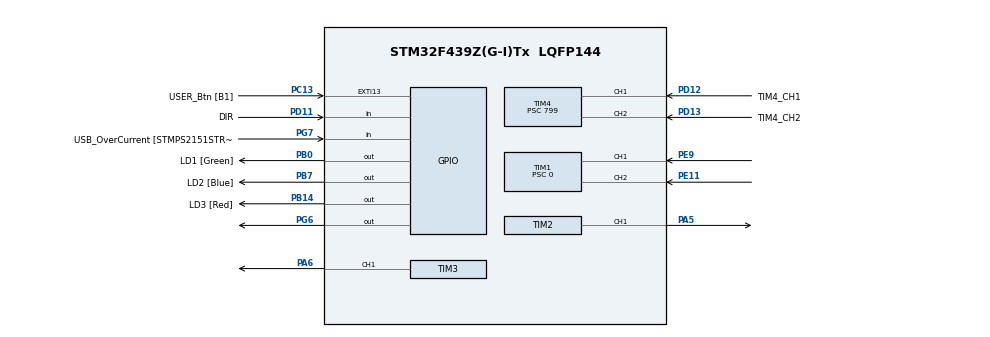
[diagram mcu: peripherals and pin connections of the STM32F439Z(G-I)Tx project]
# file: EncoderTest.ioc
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Mcu.Family=STM32F4
Mcu.Name=STM32F439Z(G-I)Tx
Mcu.Package=LQFP144
NVIC.PriorityGroup=NVIC_PRIORITYGROUP_4
NVIC.TIM1_UP_TIM10_IRQn=true\:0\:0\:false\:false\:true\:true\:true\:true
NVIC.TIM4_IRQn=true\:0\:0\:false\:false\:true\:true\:true\:true
NVIC.TIM6_DAC_IRQn=true\:0\:0\:false\:false\:true\:true\:true\:true
PA1.GPIO_Label=RMII_REF_CLK [LAN8742A-CZ-TR_REFCLK0]
PA1.Signal=ETH_REF_CLK
PA10.GPIO_Label=USB_ID
PA10.Signal=USB_OTG_FS_ID
PA11.GPIO_Label=USB_DM
PA11.Signal=USB_OTG_FS_DM
PA12.GPIO_Label=USB_DP
PA12.Signal=USB_OTG_FS_DP
PA13.GPIO_Label=TMS
PA13.Mode=Serial_Wire
PA13.Signal=SYS_JTMS-SWDIO
PA14.GPIO_Label=TCK
PA14.Mode=Serial_Wire
PA14.Signal=SYS_JTCK-SWCLK
PA2.GPIO_Label=RMII_MDIO [LAN8742A-CZ-TR_MDIO]
PA2.Signal=ETH_MDIO
PA5.Signal=S_TIM2_CH1_ETR
PA6.Signal=S_TIM3_CH1
PA7.GPIO_Label=RMII_CRS_DV [LAN8742A-CZ-TR_CRS_DV]
PA7.Signal=ETH_CRS_DV
PA8.GPIO_Label=USB_SOF [TP1]
PA8.Signal=USB_OTG_FS_SOF
PA9.GPIO_Label=USB_VBUS
PA9.Signal=USB_OTG_FS_VBUS
PB0.GPIO_Label=LD1 [Green]
PB0.Signal=GPIO_Output
PB13.GPIO_Label=RMII_TXD1 [LAN8742A-CZ-TR_TXD1]
PB13.Signal=ETH_TXD1
PB14.GPIO_Label=LD3 [Red]
PB14.Signal=GPIO_Output
PB7.GPIO_Label=LD2 [Blue]
PB7.Signal=GPIO_Output
PC1.GPIO_Label=RMII_MDC [LAN8742A-CZ-TR_MDC]
PC1.Signal=ETH_MDC
PC13.GPIO_Label=USER_Btn [B1]
PC13.Signal=GPXTI13
PC14/OSC32_IN.Mode=LSE-External-Oscillator
PC14/OSC32_IN.Signal=RCC_OSC32_IN
PC15/OSC32_OUT.Mode=LSE-External-Oscillator
PC15/OSC32_OUT.Signal=RCC_OSC32_OUT
PC4.GPIO_Label=RMII_RXD0 [LAN8742A-CZ-TR_RXD0]
PC4.Signal=ETH_RXD0
PC5.GPIO_Label=RMII_RXD1 [LAN8742A-CZ-TR_RXD1]
PC5.Signal=ETH_RXD1
PD11.GPIO_Label=DIR
PD11.Signal=GPIO_Input
PD12.GPIO_Label=TIM4_CH1
PD12.Signal=S_TIM4_CH1
PD13.GPIO_Label=TIM4_CH2
PD13.Signal=S_TIM4_CH2
PD8.GPIO_Label=STLK_RX [STM32F103CBT6_PA3]
PD8.Signal=USART3_TX
PD9.GPIO_Label=STLK_TX [STM32F103CBT6_PA2]
PD9.Signal=USART3_RX
PE11.GPIO_PuPd=GPIO_PULLUP
PE11.Signal=S_TIM1_CH2
PE9.GPIO_PuPd=GPIO_PULLUP
PE9.Signal=S_TIM1_CH1
PG11.GPIO_Label=RMII_TX_EN [LAN8742A-CZ-TR_TXEN]
PG11.Signal=ETH_TX_EN
PG13.GPIO_Label=RMII_TXD0 [LAN8742A-CZ-TR_TXD0]
PG13.Signal=ETH_TXD0
PG6.Signal=GPIO_Output
PG7.GPIO_Label=USB_OverCurrent [STMPS2151STR_FAULT]
PG7.Signal=GPIO_Input
PH0/OSC_IN.GPIO_Label=MCO [STM32F103CBT6_PA8]
PH0/OSC_IN.Mode=HSE-External-Clock-Source
PH0/OSC_IN.Signal=RCC_OSC_IN
PH1/OSC_OUT.Mode=HSE-External-Clock-Source
PH1/OSC_OUT.Signal=RCC_OSC_OUT
ProjectManager.HeapSize=0x200
ProjectManager.StackSize=0x400
ProjectManager.TargetToolchain=STM32CubeIDE
RCC.48MHZClocksFreq_Value=22857142.85714286
RCC.AHBFreq_Value=80000000
RCC.APB1CLKDivider=RCC_HCLK_DIV2
RCC.APB1Freq_Value=40000000
RCC.APB1TimFreq_Value=80000000
RCC.APB2CLKDivider=RCC_HCLK_DIV2
RCC.APB2Freq_Value=40000000
RCC.APB2TimFreq_Value=80000000
RCC.CortexFreq_Value=80000000
RCC.HCLKFreq_Value=80000000
RCC.HSE_VALUE=8000000
RCC.HSI_VALUE=16000000
RCC.PLLM=4
RCC.PLLMUL=RCC_PLL_MUL9
RCC.PLLN=80
RCC.PLLQ=7
RCC.PLLSourceVirtual=RCC_PLLSOURCE_HSE
RCC.PRESCALERUSB=RCC_USBCLKSOURCE_PLL_DIV1_5
RCC.SYSCLKFreq_VALUE=80000000
RCC.SYSCLKSource=RCC_SYSCLKSOURCE_PLLCLK
RCC.SYSCLKSourceVirtual=RCC_SYSCLKSOURCE_PLLCLK
RCC.USBFreq_Value=48000000
RCC.VCOOutputFreq_Value=160000000
SH.S_TIM1_CH1.0=TIM1_CH1,Encoder_Interface
SH.S_TIM1_CH2.0=TIM1_CH2,Encoder_Interface
SH.S_TIM2_CH1_ETR.0=TIM2_CH1,PWM Generation1 CH1
SH.S_TIM3_CH1.0=TIM3_CH1,PWM Generation1 CH1
SH.S_TIM4_CH1.0=TIM4_CH1,Input_Capture1_from_TI1
SH.S_TIM4_CH2.0=TIM4_CH2,Input_Capture2_from_TI2
TIM1.EncoderMode=TIM_ENCODERMODE_TI12
TIM1.IC1Filter=8
TIM1.IC2Filter=8
TIM1.Prescaler=0
TIM2.Channel-Output\ Compare2\ No\ Output=TIM_CHANNEL_2
TIM2.Channel-PWM\ Generation1\ CH1=TIM_CHANNEL_1
TIM2.OCMode_2=TIM_OCMODE_ACTIVE
TIM2.Period=9999
TIM2.Prescaler=16
TIM2.Pulse-Output\ Compare2\ No\ Output=2499
TIM2.Pulse-PWM\ Generation1\ CH1=4999
TIM2.TIM_MasterOutputTrigger=TIM_TRGO_OC2REF
TIM3.Channel-PWM\ Generation1\ CH1=TIM_CHANNEL_1
TIM3.Period=9999
TIM3.Prescaler=16
TIM3.Pulse-PWM\ Generation1\ CH1=4999
TIM4.Channel-Input_Capture1_from_TI1=TIM_CHANNEL_1
TIM4.Channel-Input_Capture2_from_TI2=TIM_CHANNEL_2
TIM4.ICFilter_CH1=8
TIM4.ICFilter_CH2=8
TIM4.ICPolarity_CH1=TIM_INPUTCHANNELPOLARITY_BOTHEDGE
TIM4.ICPolarity_CH2=TIM_INPUTCHANNELPOLARITY_BOTHEDGE
TIM4.Prescaler=799
TIM6.Period=9999
TIM6.Prescaler=799
VP_TIM2_VS_ClockSourceINT.Mode=Internal
VP_TIM2_VS_no_output2.Mode=Output Compare2 No Output
VP_TIM3_VS_ClockSourceINT.Mode=Internal
VP_TIM3_VS_ClockSourceITR.Mode=TriggerSource_ITR1
VP_TIM3_VS_ControllerModeTrigger.Mode=Trigger Mode
VP_TIM4_VS_ClockSourceINT.Mode=Internal
VP_TIM6_VS_ClockSourceINT.Mode=Enable_Timer
VP_TIM7_VS_ClockSourceINT.Mode=Enable_Timer
board=NUCLEO-F439ZI

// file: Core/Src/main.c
/* USER CODE BEGIN Header */
/**
  ******************************************************************************
  * @file           : main.c
  * @brief          : Main program body
  ******************************************************************************
  * @attention
  *
  * Copyright (c) 2026 STMicroelectronics.
  * All rights reserved.
  *
  * This software is licensed under terms that can be found in the LICENSE file
  * in the root directory of this software component.
  * If no LICENSE file comes with this software, it is provided AS-IS.
  *
  ******************************************************************************
  */
/* USER CODE END Header */
#include "main.h"
#include "tim.h"
#include "gpio.h"

/* USER CODE BEGIN Includes */
#include "PulseCountVelocity_static.h"
#include "TimeIntervalVelocity_static.h"
#include "HybridVelocity.h"
#include "Algorithm_profiler.h"
/* USER CODE END Includes */

void SystemClock_Config(void);

/* USER CODE BEGIN 0 */
volatile int32_t PCV_result = 0;
volatile int32_t TIV_result = 0;
volatile int32_t HV_result = 0;

volatile uint32_t encoder_counter;
volatile uint16_t timer_counter = 0;

volatile uint32_t Nanoseconds = 0;
/* USER CODE END 0 */

int main(void)
{

  /* MCU Configuration--------------------------------------------------------*/

  /* Reset of all peripherals, Initializes the Flash interface and the Systick. */
  HAL_Init();

  /* Configure the system clock */
  SystemClock_Config();

  /* Initialize all configured peripherals */
  MX_GPIO_Init();
  MX_TIM1_Init();
  MX_TIM2_Init();
  MX_TIM3_Init();
  MX_TIM6_Init();
  MX_TIM4_Init();
  MX_TIM7_Init();
  /* USER CODE BEGIN 2 */

  LL_TIM_GenerateEvent_UPDATE(TIM2);
  LL_TIM_GenerateEvent_UPDATE(TIM3);

  LL_TIM_ClearFlag_UPDATE(TIM2);
  LL_TIM_ClearFlag_UPDATE(TIM3);

  LL_TIM_CC_EnableChannel(TIM2, LL_TIM_CHANNEL_CH1);
  LL_TIM_CC_EnableChannel(TIM2, LL_TIM_CHANNEL_CH2);

  LL_TIM_CC_EnableChannel(TIM3, LL_TIM_CHANNEL_CH1);

  LL_TIM_EnableCounter(TIM2);

  Profiler_Calibration();
  //PCVs_Start();
  //TIVs_Start();
  HV_Start();

  /* USER CODE END 2 */

  /* Infinite loop */
  while (1)
  {

  }
}

void SystemClock_Config(void)
{
  LL_FLASH_SetLatency(LL_FLASH_LATENCY_2);
  while(LL_FLASH_GetLatency()!= LL_FLASH_LATENCY_2)
  {
  }
  LL_PWR_SetRegulVoltageScaling(LL_PWR_REGU_VOLTAGE_SCALE3);
  LL_PWR_DisableOverDriveMode();
  LL_RCC_HSE_EnableBypass();
  LL_RCC_HSE_Enable();

   /* Wait till HSE is ready */
  while(LL_RCC_HSE_IsReady() != 1)
  {

  }
  LL_RCC_PLL_ConfigDomain_SYS(LL_RCC_PLLSOURCE_HSE, LL_RCC_PLLM_DIV_4, 80, LL_RCC_PLLP_DIV_2);
  LL_RCC_PLL_Enable();

   /* Wait till PLL is ready */
  while(LL_RCC_PLL_IsReady() != 1)
  {

  }
  while (LL_PWR_IsActiveFlag_VOS() == 0)
  {
  }
  LL_RCC_SetAHBPrescaler(LL_RCC_SYSCLK_DIV_1);
  LL_RCC_SetAPB1Prescaler(LL_RCC_APB1_DIV_2);
  LL_RCC_SetAPB2Prescaler(LL_RCC_APB2_DIV_2);
  LL_RCC_SetSysClkSource(LL_RCC_SYS_CLKSOURCE_PLL);

   /* Wait till System clock is ready */
  while(LL_RCC_GetSysClkSource() != LL_RCC_SYS_CLKSOURCE_STATUS_PLL)
  {

  }
  LL_SetSystemCoreClock(80000000);

   /* Update the time base */
  if (HAL_InitTick (TICK_INT_PRIORITY) != HAL_OK)
  {
    Error_Handler();
  }
  LL_RCC_SetTIMPrescaler(LL_RCC_TIM_PRESCALER_TWICE);
}

void Error_Handler(void)
{
  __disable_irq();
  while (1)
  {
  }
}
